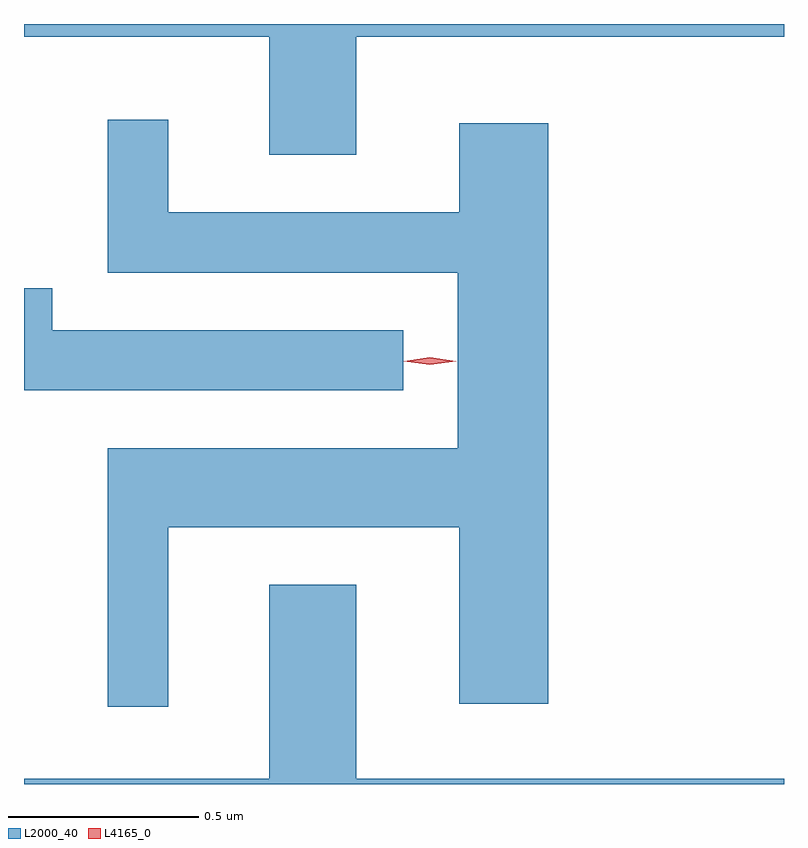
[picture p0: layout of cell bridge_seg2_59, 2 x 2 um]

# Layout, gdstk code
import gdstk
lib = gdstk.Library(unit=1e-6, precision=1e-09)
def P(c, l, *ps):  # polygons
    for p in ps: c.add(gdstk.Polygon(p, *l))
L2000_40 = (2000, 40)
L4165_0 = (4165, 0)

bridge_seg2_59 = lib.new_cell('bridge_seg2_59')
P(bridge_seg2_59, L2000_40, [(1276.519,1054.976),(1277.645,1054.976),(1277.645,1055.01),(1275.645,1055.01),(1275.645,1054.976),(1276.291,1054.976),(1276.291,1054.666),(1276.519,1054.666)],
  [(1276.024,1053.686),(1276.791,1053.686),(1276.791,1053.221),(1277.024,1053.221),(1277.024,1054.749),(1276.791,1054.749),(1276.791,1054.514),(1276.024,1054.514),(1276.024,1054.758),(1275.866,1054.758),(1275.866,1054.356),(1276.786,1054.356),(1276.786,1053.894),(1275.866,1053.894),(1275.866,1053.213),(1276.024,1053.213)],
  [(1276.643,1054.204),(1275.719,1054.204),(1275.719,1054.314),(1275.645,1054.314),(1275.645,1054.046),(1276.643,1054.046)],
  [(1277.645,1053.024),(1276.519,1053.024),(1276.519,1053.534),(1276.291,1053.534),(1276.291,1053.024),(1275.645,1053.024),(1275.645,1053.01),(1277.645,1053.01)])
P(bridge_seg2_59, L4165_0, [(1276.713,1054.113),(1276.644,1054.122),(1276.644,1054.123),(1276.644,1054.123),(1276.713,1054.133),(1276.782,1054.123),(1276.783,1054.123),(1276.782,1054.122)],
  [(1276.713,1054.113),(1276.648,1054.122),(1276.647,1054.123),(1276.648,1054.123),(1276.713,1054.133),(1276.779,1054.123),(1276.78,1054.123),(1276.779,1054.122)])

lib.write_gds('bridge_seg2_59.gds')
